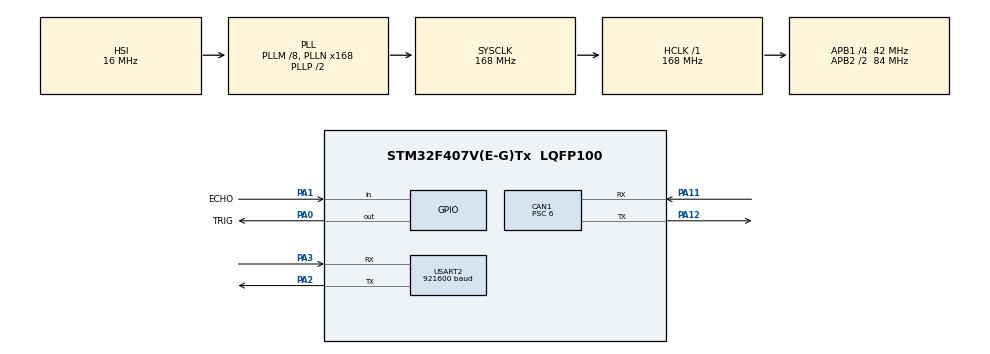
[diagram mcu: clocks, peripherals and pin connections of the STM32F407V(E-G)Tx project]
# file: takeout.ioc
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CAN1.BS1=CAN_BS1_10TQ
CAN1.BS2=CAN_BS2_2TQ
CAN1.CalculateTimeQuantum=142.85714285714286
CAN1.Prescaler=6
CAN1.SJW=CAN_SJW_2TQ
Mcu.Family=STM32F4
Mcu.Name=STM32F407V(E-G)Tx
Mcu.Package=LQFP100
NVIC.CAN1_RX0_IRQn=true\:0\:0\:false\:false\:true\:true\:true
NVIC.PriorityGroup=NVIC_PRIORITYGROUP_4
NVIC.TIM2_IRQn=true\:0\:0\:false\:false\:true\:true\:true
NVIC.TIM4_IRQn=true\:0\:0\:false\:false\:true\:true\:true
NVIC.USART2_IRQn=true\:0\:0\:false\:false\:true\:true\:true
PA0-WKUP.GPIO_Label=TRIG
PA0-WKUP.Signal=GPIO_Output
PA1.GPIO_Label=ECHO
PA1.Signal=GPIO_Input
PA11.Mode=Master
PA11.Signal=CAN1_RX
PA12.Mode=Master
PA12.Signal=CAN1_TX
PA13.Mode=Serial_Wire
PA13.Signal=SYS_JTMS-SWDIO
PA14.Mode=Serial_Wire
PA14.Signal=SYS_JTCK-SWCLK
PA2.Mode=Asynchronous
PA2.Signal=USART2_TX
PA3.Mode=Asynchronous
PA3.Signal=USART2_RX
PH0-OSC_IN.Mode=HSE-External-Oscillator
PH0-OSC_IN.Signal=RCC_OSC_IN
PH1-OSC_OUT.Mode=HSE-External-Oscillator
PH1-OSC_OUT.Signal=RCC_OSC_OUT
ProjectManager.HeapSize=0x200
ProjectManager.StackSize=0x400
ProjectManager.TargetToolchain=MDK-ARM V5.27
RCC.48MHZClocksFreq_Value=84000000
RCC.AHBFreq_Value=168000000
RCC.APB1CLKDivider=RCC_HCLK_DIV4
RCC.APB1Freq_Value=42000000
RCC.APB1TimFreq_Value=84000000
RCC.APB2CLKDivider=RCC_HCLK_DIV2
RCC.APB2Freq_Value=84000000
RCC.APB2TimFreq_Value=168000000
RCC.CortexFreq_Value=168000000
RCC.HCLKFreq_Value=168000000
RCC.HSE_VALUE=8000000
RCC.HSI_VALUE=16000000
RCC.LSE_VALUE=32768
RCC.PLLM=8
RCC.PLLN=168
RCC.SYSCLKFreq_VALUE=168000000
RCC.SYSCLKSource=RCC_SYSCLKSOURCE_PLLCLK
RCC.VCOOutputFreq_Value=336000000
TIM2.AutoReloadPreload=TIM_AUTORELOAD_PRELOAD_ENABLE
TIM2.Period=1000-1
TIM2.Prescaler=84-1
TIM4.AutoReloadPreload=TIM_AUTORELOAD_PRELOAD_ENABLE
TIM4.Period=10-1
TIM4.Prescaler=84-1
USART2.BaudRate=921600
USART2.VirtualMode=VM_ASYNC
VP_TIM2_VS_ClockSourceINT.Mode=Internal
VP_TIM4_VS_ClockSourceINT.Mode=Internal
board=custom

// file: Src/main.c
/* USER CODE BEGIN Header */
/**
  ******************************************************************************
  * @file           : main.c
  * @brief          : Main program body
  ******************************************************************************
  * @attention
  *
  * <h2><center>&copy; Copyright (c) 2020 STMicroelectronics.
  * All rights reserved.</center></h2>
  *
  * This software component is licensed by ST under BSD 3-Clause license,
  * the "License"; You may not use this file except in compliance with the
  * License. You may obtain a copy of the License at:
  *                        opensource.org/licenses/BSD-3-Clause
  *
  ******************************************************************************
  */
/* USER CODE END Header */

#include "main.h"
#include "can.h"
#include "tim.h"
#include "usart.h"
#include "gpio.h"

/* USER CODE BEGIN PD */
#define MAX_HEIGHT 400.f
#define MIN_HEIGHT 2.f
/* USER CODE END PD */

/* USER CODE BEGIN PV */
//---can-----
#define CAN_Id_Standard             ((uint32_t)0x00000000)  /*!< Standard Id */
#define CAN_Id_Extended             ((uint32_t)0x00000004)  /*!< Extended Id */
void CAN_TxHeader_Init(CAN_TxHeaderTypeDef    * pHeader,
                                                        uint32_t                             StdId);
uint8_t CanSendMsg[4] = {0};
uint32_t DLC;//length
CAN_TxHeaderTypeDef hCAN1_TxHeader; //CAN1发送消息
CAN_RxHeaderTypeDef hCAN1_RxHeader; //CAN1接收消息
CAN_FilterTypeDef hCAN1_Filter; //CAN1滤波器

uint8_t triggerFlag=0;
uint8_t triggerCntFlag=0;
uint8_t echoFlag=0;
uint8_t echoCntFlag=0;
char nowFloor=0,targetFloor=0;//当前楼层和目标楼层
char USART_temp[5]={0};

float height;
float timems;
extern uint8_t triggerCnt;
extern uint16_t echoCnt;
/* USER CODE END PV */

void SystemClock_Config(void);
/* USER CODE BEGIN PFP */
void DataSend(void);
void CalculateHeight(void);
void WaitForEcho(void);
void TriggerAction(void);
void CAN_FILTER_INIT(void);
/* USER CODE END PFP */

int main(void)
{

  /* MCU Configuration--------------------------------------------------------*/

  /* Reset of all peripherals, Initializes the Flash interface and the Systick. */
  HAL_Init();

  /* Configure the system clock */
  SystemClock_Config();

  /* Initialize all configured peripherals */
  MX_GPIO_Init();
  MX_CAN1_Init();
  MX_TIM2_Init();
  MX_USART2_UART_Init();
  MX_TIM4_Init();
  /* USER CODE BEGIN 2 */
	/*UART*/
	__HAL_UART_ENABLE_IT(&huart2, UART_IT_RXNE);
	/*TIM*/
	__HAL_TIM_ENABLE(&htim2);
	__HAL_TIM_ENABLE_IT(&htim2 , TIM_IT_UPDATE);
	__HAL_TIM_ENABLE(&htim4);
	__HAL_TIM_ENABLE_IT(&htim4 , TIM_IT_UPDATE);
	/*CAN*/
	CAN_FILTER_INIT();
	HAL_CAN_Start(&hcan1);
	HAL_CAN_ActivateNotification(&hcan1,CAN_IT_RX_FIFO0_MSG_PENDING);
	HAL_CAN_ActivateNotification(&hcan1,CAN_IT_LAST_ERROR_CODE);
	HAL_CAN_ActivateNotification(&hcan1,CAN_IT_BUSOFF);
	HAL_CAN_ActivateNotification(&hcan1,CAN_IT_ERROR);
	HAL_Delay(5);
  /* USER CODE END 2 */

  /* Infinite loop */
  /* USER CODE BEGIN WHILE */
  while (1)
  {
		if(height <10.f)
			nowFloor =0;
		else if(height < 50.f)
			nowFloor = 1;
		else if(height < 100.f)
			nowFloor = 2;
		else if(height < 150.f)
			nowFloor = 3;
		else if(height < 200.f)
			nowFloor = 4;
		else if(height < 250.f)
			nowFloor = 5;
		else if(height < 300.f)
			nowFloor = 6;
		else if(height < 350.f)
			nowFloor = 7;
		else if(height < 400.f)
			nowFloor = 8;
		else nowFloor = 9;
		if(strcmp(USART_temp,"01")==0)
		{
			targetFloor = 1;
		}
		else if(strcmp(USART_temp,"02")==0)
		{
			targetFloor = 2;
		}
		else if(strcmp(USART_temp,"03")==0)
		{
			targetFloor = 3;
		}
		else if(strcmp(USART_temp,"04")==0)
		{
			targetFloor = 4;
		}
		else if(strcmp(USART_temp,"05")==0)
		{
			targetFloor = 5;
		}
		else if(strcmp(USART_temp,"06")==0)
		{
			targetFloor = 6;
		}
		else if(strcmp(USART_temp,"07")==0)
		{
			targetFloor = 7;
		}
		else if(strcmp(USART_temp,"08")==0)
		{
			targetFloor = 8;
		}
		else if(strcmp(USART_temp,"09")==0)
		{
			targetFloor = 9;
		}
		else if(strcmp(USART_temp,"10")==0)
		{
			targetFloor = 10;
		}
		if(GetPeirodTimeFlag())
		{
			TriggerAction();
			WaitForEcho();
			if(echoFlag)
			{
				CalculateHeight();
//				DataSend();
				echoCnt=0;
				echoFlag=0;
				triggerFlag=0;
			}
		}
		CanSendMsg[0] = 'A';
		CanSendMsg[1] = 'T';
		CanSendMsg[2] = nowFloor;
		CanSendMsg[3] = targetFloor;
		DLC = 4;
		CAN_TxHeader_Init(&hCAN1_TxHeader,1);
		HAL_CAN_AddTxMessage(&hcan1,&hCAN1_TxHeader,CanSendMsg,&DLC);
		CAN_TxHeader_Init(&hCAN1_TxHeader,2);
		HAL_CAN_AddTxMessage(&hcan1,&hCAN1_TxHeader,CanSendMsg,&DLC);
    /* USER CODE END WHILE */

  }
}

void SystemClock_Config(void)
{
  RCC_OscInitTypeDef RCC_OscInitStruct = {0};
  RCC_ClkInitTypeDef RCC_ClkInitStruct = {0};

  /** Configure the main internal regulator output voltage
  */
  __HAL_RCC_PWR_CLK_ENABLE();
  __HAL_PWR_VOLTAGESCALING_CONFIG(PWR_REGULATOR_VOLTAGE_SCALE1);
  /** Initializes the CPU, AHB and APB busses clocks
  */
  RCC_OscInitStruct.OscillatorType = RCC_OSCILLATORTYPE_HSI;
  RCC_OscInitStruct.HSIState = RCC_HSI_ON;
  RCC_OscInitStruct.HSICalibrationValue = RCC_HSICALIBRATION_DEFAULT;
  RCC_OscInitStruct.PLL.PLLState = RCC_PLL_ON;
  RCC_OscInitStruct.PLL.PLLSource = RCC_PLLSOURCE_HSI;
  RCC_OscInitStruct.PLL.PLLM = 8;
  RCC_OscInitStruct.PLL.PLLN = 168;
  RCC_OscInitStruct.PLL.PLLP = RCC_PLLP_DIV2;
  RCC_OscInitStruct.PLL.PLLQ = 4;
  if (HAL_RCC_OscConfig(&RCC_OscInitStruct) != HAL_OK)
  {
    Error_Handler();
  }
  /** Initializes the CPU, AHB and APB busses clocks
  */
  RCC_ClkInitStruct.ClockType = RCC_CLOCKTYPE_HCLK|RCC_CLOCKTYPE_SYSCLK
                              |RCC_CLOCKTYPE_PCLK1|RCC_CLOCKTYPE_PCLK2;
  RCC_ClkInitStruct.SYSCLKSource = RCC_SYSCLKSOURCE_PLLCLK;
  RCC_ClkInitStruct.AHBCLKDivider = RCC_SYSCLK_DIV1;
  RCC_ClkInitStruct.APB1CLKDivider = RCC_HCLK_DIV4;
  RCC_ClkInitStruct.APB2CLKDivider = RCC_HCLK_DIV2;

  if (HAL_RCC_ClockConfig(&RCC_ClkInitStruct, FLASH_LATENCY_5) != HAL_OK)
  {
    Error_Handler();
  }
}

/* USER CODE BEGIN 4 */
//void DataSend(void)
//{
//	HAL_UART_Transmit(&huart2,(uint8_t*)"Height: ",8,5);
//	USART_Out_Float(&huart2,height);
//	HAL_UART_Transmit(&huart2,(uint8_t*)"\t\t",2,5);
//	HAL_UART_Transmit(&huart2,(uint8_t*)"Time: ",6,5);
//	USART_Out_Float(&huart2,timems);
//	HAL_UART_Transmit(&huart2,(uint8_t*)"\r\n",2,5);
//}
void CalculateHeight(void)
{
	height=echoCnt*34000/(100000.f*2);	//echoCnt单位为10us
	timems=echoCnt/100.f;
	if(height>=MAX_HEIGHT)
	{
		height=MAX_HEIGHT;
	}
	if(height<=MIN_HEIGHT)
	{
		height=MIN_HEIGHT;
	}
}
void WaitForEcho(void)
{
	while(HAL_GPIO_ReadPin(ECHO_GPIO_Port,ECHO_Pin)==0){}
	echoCntFlag=1;
	while(HAL_GPIO_ReadPin(ECHO_GPIO_Port,ECHO_Pin)==1){}
	echoCntFlag=0;
	echoFlag=1;
}
void TriggerAction(void)
{
	if(!triggerFlag)
	{
		triggerCntFlag=1;
		for(;GetTriggerTimeFlag()<1;)
		{
			HAL_GPIO_WritePin(TRIG_GPIO_Port,TRIG_Pin,GPIO_PIN_SET);
			triggerFlag=1;
		}
		HAL_GPIO_WritePin(TRIG_GPIO_Port,TRIG_Pin,GPIO_PIN_RESET);
		triggerCntFlag=0;

	}
}
void CAN_TxHeader_Init(CAN_TxHeaderTypeDef    * pHeader,
                                                        uint32_t                             StdId)
{
    pHeader->StdId    = StdId;    //11位     标准标识符
    pHeader->ExtId    = StdId;    //29位     扩展标识符
    pHeader->IDE        = 0;        //1位        0:标准帧 1:拓展帧
    pHeader->RTR        = 0;      //1位   0:数据帧 1:远程帧
    pHeader->DLC        = 4;        //4位   发送的数据的长度
    pHeader->TransmitGlobalTime    =    ENABLE;
}
void CAN_FILTER_INIT(void)
{
	CAN_FilterTypeDef filter1;
	filter1.FilterBank=0;
  filter1.FilterMode=CAN_FILTERMODE_IDMASK;
  filter1.FilterScale=CAN_FILTERSCALE_32BIT;
  filter1.FilterIdHigh=0x0000;
	filter1.FilterIdLow=0x0000;
	filter1.FilterMaskIdHigh=0x0000;
	filter1.FilterMaskIdLow=0x0000;
  filter1.FilterFIFOAssignment=CAN_FilterFIFO0;
  filter1.FilterActivation=ENABLE;
	if(HAL_CAN_ConfigFilter(&hcan1,&filter1)!=HAL_OK)
	{
		Error_Handler();
	}
}
/* USER CODE END 4 */

void Error_Handler(void)
{
}

/************************ (C) COPYRIGHT STMicroelectronics *****END OF FILE****/
